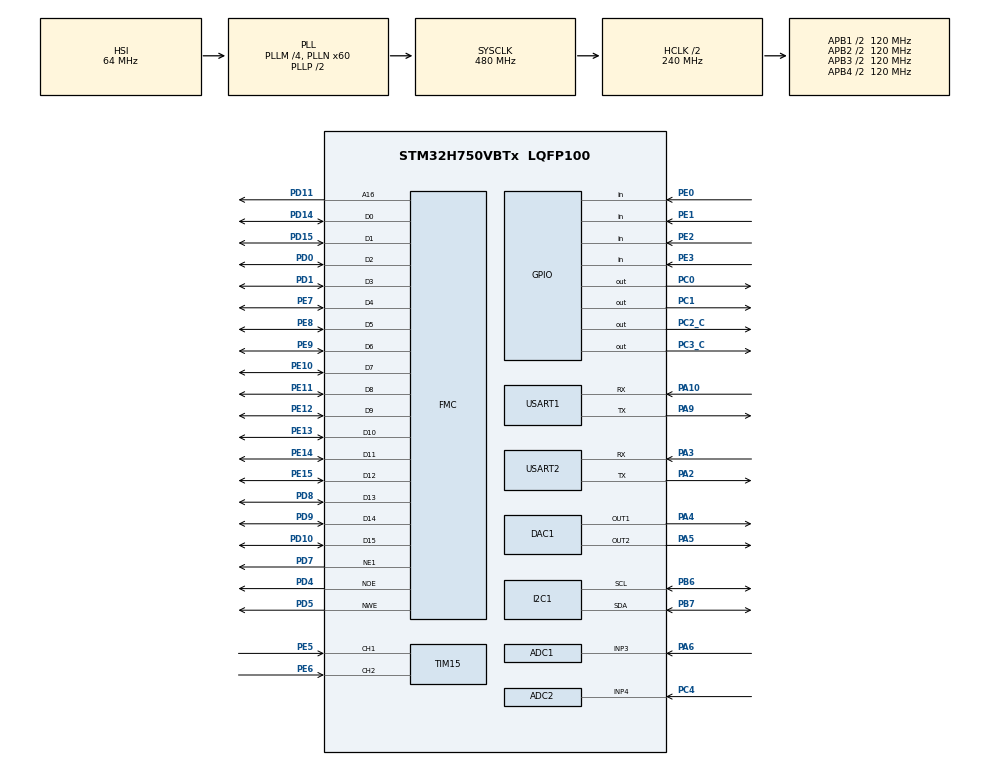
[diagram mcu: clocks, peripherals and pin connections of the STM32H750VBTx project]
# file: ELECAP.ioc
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ADC1.Channel-0\#ChannelRegularConversion=ADC_CHANNEL_3
ADC1.ClockPrescaler=ADC_CLOCK_ASYNC_DIV2
ADC1.ContinuousConvMode=DISABLE
ADC1.ConversionDataManagement=ADC_CONVERSIONDATA_DMA_ONESHOT
ADC1.DiscontinuousConvMode=DISABLE
ADC1.ExternalTrigConv=ADC_EXTERNALTRIG_T6_TRGO
ADC1.NbrOfConversion=1
ADC1.NbrOfConversionFlag=1
ADC1.OffsetNumber-0\#ChannelRegularConversion=ADC_OFFSET_NONE
ADC1.OffsetSignedSaturation-0\#ChannelRegularConversion=DISABLE
ADC1.Rank-0\#ChannelRegularConversion=1
ADC1.Resolution=ADC_RESOLUTION_12B
ADC1.SamplingTime-0\#ChannelRegularConversion=ADC_SAMPLETIME_1CYCLE_5
ADC1.master=1
ADC2.Channel-1\#ChannelRegularConversion=ADC_CHANNEL_4
ADC2.ClockPrescaler=ADC_CLOCK_ASYNC_DIV2
ADC2.ConversionDataManagement=ADC_CONVERSIONDATA_DMA_ONESHOT
ADC2.ExternalTrigConv=ADC_EXTERNALTRIG_T6_TRGO
ADC2.NbrOfConversionFlag=1
ADC2.OffsetNumber-1\#ChannelRegularConversion=ADC_OFFSET_NONE
ADC2.OffsetSignedSaturation-1\#ChannelRegularConversion=DISABLE
ADC2.Rank-1\#ChannelRegularConversion=1
ADC2.Resolution=ADC_RESOLUTION_14B
ADC2.SamplingTime-1\#ChannelRegularConversion=ADC_SAMPLETIME_1CYCLE_5
CORTEX_M7.AccessPermission-Cortex_Memory_Protection_Unit_Region0_Settings=MPU_REGION_FULL_ACCESS
CORTEX_M7.AccessPermission-Cortex_Memory_Protection_Unit_Region1_Settings=MPU_REGION_FULL_ACCESS
CORTEX_M7.BaseAddress-Cortex_Memory_Protection_Unit_Region0_Settings=0x24000000
CORTEX_M7.BaseAddress-Cortex_Memory_Protection_Unit_Region1_Settings=0x60000000
CORTEX_M7.CPU_DCache=Enabled
CORTEX_M7.CPU_ICache=Disabled
CORTEX_M7.DisableExec-Cortex_Memory_Protection_Unit_Region0_Settings=MPU_INSTRUCTION_ACCESS_ENABLE
CORTEX_M7.Enable-Cortex_Memory_Protection_Unit_Region0_Settings=MPU_REGION_ENABLE
CORTEX_M7.Enable-Cortex_Memory_Protection_Unit_Region1_Settings=MPU_REGION_ENABLE
CORTEX_M7.IsBufferable-Cortex_Memory_Protection_Unit_Region0_Settings=MPU_ACCESS_BUFFERABLE
CORTEX_M7.IsBufferable-Cortex_Memory_Protection_Unit_Region1_Settings=MPU_ACCESS_BUFFERABLE
CORTEX_M7.IsCacheable-Cortex_Memory_Protection_Unit_Region0_Settings=MPU_ACCESS_CACHEABLE
CORTEX_M7.IsCacheable-Cortex_Memory_Protection_Unit_Region1_Settings=MPU_ACCESS_NOT_CACHEABLE
CORTEX_M7.MPU_Control=MPU_HFNMI_PRIVDEF
CORTEX_M7.Size-Cortex_Memory_Protection_Unit_Region0_Settings=MPU_REGION_SIZE_512KB
CORTEX_M7.Size-Cortex_Memory_Protection_Unit_Region1_Settings=MPU_REGION_SIZE_64MB
CORTEX_M7.default_mode_Activation=0
DAC1.DAC2_OutputBuffer-DAC_OUT2=DAC_OUTPUTBUFFER_ENABLE
DAC1.DAC_Channel-DAC_OUT1=DAC_CHANNEL_1
DAC1.DAC_Channel-DAC_OUT2=DAC_CHANNEL_2
DAC1.DAC_Trigger-DAC_OUT1=DAC_TRIGGER_T7_TRGO
DAC1.DAC_Trigger-DAC_OUT2=DAC_TRIGGER_T7_TRGO
DAC1.WaveGeneration-DAC_OUT1=TriangleWaveGeneration
Dma.ADC1.0.Direction=DMA_PERIPH_TO_MEMORY
Dma.ADC1.0.EventEnable=ENABLE
Dma.ADC1.0.FIFOMode=DMA_FIFOMODE_DISABLE
Dma.ADC1.0.Instance=DMA1_Stream1
Dma.ADC1.0.MemDataAlignment=DMA_MDATAALIGN_HALFWORD
Dma.ADC1.0.MemInc=DMA_MINC_ENABLE
Dma.ADC1.0.Mode=DMA_NORMAL
Dma.ADC1.0.PeriphDataAlignment=DMA_PDATAALIGN_HALFWORD
Dma.ADC1.0.PeriphInc=DMA_PINC_DISABLE
Dma.ADC1.0.Polarity=HAL_DMAMUX_REQ_GEN_RISING
Dma.ADC1.0.Priority=DMA_PRIORITY_LOW
Dma.ADC1.0.RequestNumber=1
Dma.ADC1.0.SignalID=NONE
Dma.ADC1.0.SyncEnable=DISABLE
Dma.ADC1.0.SyncPolarity=HAL_DMAMUX_SYNC_NO_EVENT
Dma.ADC1.0.SyncRequestNumber=1
Dma.ADC1.0.SyncSignalID=NONE
Dma.ADC2.2.Direction=DMA_PERIPH_TO_MEMORY
Dma.ADC2.2.EventEnable=DISABLE
Dma.ADC2.2.FIFOMode=DMA_FIFOMODE_DISABLE
Dma.ADC2.2.Instance=DMA1_Stream2
Dma.ADC2.2.MemDataAlignment=DMA_MDATAALIGN_HALFWORD
Dma.ADC2.2.MemInc=DMA_MINC_ENABLE
Dma.ADC2.2.Mode=DMA_NORMAL
Dma.ADC2.2.PeriphDataAlignment=DMA_PDATAALIGN_HALFWORD
Dma.ADC2.2.PeriphInc=DMA_PINC_DISABLE
Dma.ADC2.2.Polarity=HAL_DMAMUX_REQ_GEN_RISING
Dma.ADC2.2.Priority=DMA_PRIORITY_LOW
Dma.ADC2.2.RequestNumber=1
Dma.ADC2.2.SignalID=NONE
Dma.ADC2.2.SyncEnable=DISABLE
Dma.ADC2.2.SyncPolarity=HAL_DMAMUX_SYNC_NO_EVENT
Dma.ADC2.2.SyncRequestNumber=1
Dma.ADC2.2.SyncSignalID=NONE
Dma.DAC1_CH1.1.Direction=DMA_MEMORY_TO_PERIPH
Dma.DAC1_CH1.1.EventEnable=DISABLE
Dma.DAC1_CH1.1.FIFOMode=DMA_FIFOMODE_DISABLE
Dma.DAC1_CH1.1.Instance=DMA1_Stream0
Dma.DAC1_CH1.1.MemDataAlignment=DMA_MDATAALIGN_HALFWORD
Dma.DAC1_CH1.1.MemInc=DMA_MINC_ENABLE
Dma.DAC1_CH1.1.Mode=DMA_CIRCULAR
Dma.DAC1_CH1.1.PeriphDataAlignment=DMA_PDATAALIGN_HALFWORD
Dma.DAC1_CH1.1.PeriphInc=DMA_PINC_DISABLE
Dma.DAC1_CH1.1.Polarity=HAL_DMAMUX_REQ_GEN_RISING
Dma.DAC1_CH1.1.Priority=DMA_PRIORITY_LOW
Dma.DAC1_CH1.1.RequestNumber=1
Dma.DAC1_CH1.1.SignalID=NONE
Dma.DAC1_CH1.1.SyncEnable=DISABLE
Dma.DAC1_CH1.1.SyncPolarity=HAL_DMAMUX_SYNC_NO_EVENT
Dma.DAC1_CH1.1.SyncRequestNumber=1
Dma.DAC1_CH1.1.SyncSignalID=NONE
Dma.Request0=ADC1
Dma.Request1=DAC1_CH1
Dma.Request2=ADC2
FMC.AddressSetupTime1=0x10
FMC.BusTurnAroundDuration1=0
FMC.DataSetupTime1=0x4d
FMC.ExtendedAddressSetupTime1=0x05
FMC.ExtendedBusTurnAroundDuration1=0
FMC.ExtendedDataSetupTime1=0x05
FMC.ExtendedMode1=FMC_EXTENDED_MODE_ENABLE
FMC.WriteFifo1=FMC_WRITE_FIFO_DISABLE
I2C1.Timing=0x307075B1
Mcu.Family=STM32H7
Mcu.Name=STM32H750VBTx
Mcu.Package=LQFP100
NVIC.DMA1_Stream0_IRQn=true\:0\:0\:false\:false\:true\:false\:false\:true
NVIC.DMA1_Stream1_IRQn=true\:0\:0\:false\:false\:true\:false\:false\:true
NVIC.DMA1_Stream2_IRQn=true\:0\:0\:false\:false\:true\:false\:false\:true
NVIC.DMAMUX1_OVR_IRQn=true\:0\:0\:false\:false\:true\:false\:true\:true
NVIC.PriorityGroup=NVIC_PRIORITYGROUP_4
NVIC.TIM8_UP_TIM13_IRQn=true\:0\:0\:false\:false\:true\:true\:false\:true
PA10.Mode=Asynchronous
PA10.Signal=USART1_RX
PA13\ (JTMS/SWDIO).Mode=Serial_Wire
PA13\ (JTMS/SWDIO).Signal=DEBUG_JTMS-SWDIO
PA14\ (JTCK/SWCLK).Mode=Serial_Wire
PA14\ (JTCK/SWCLK).Signal=DEBUG_JTCK-SWCLK
PA2.Mode=Asynchronous
PA2.Signal=USART2_TX
PA3.Mode=Asynchronous
PA3.Signal=USART2_RX
PA4.Signal=COMP_DAC11_group
PA5.Signal=COMP_DAC12_group
PA6.Signal=ADCx_INP3
PA9.Mode=Asynchronous
PA9.Signal=USART1_TX
PB6.Mode=I2C
PB6.Signal=I2C1_SCL
PB7.Mode=I2C
PB7.Signal=I2C1_SDA
PC0.GPIO_PuPd=GPIO_PULLUP
PC0.Signal=GPIO_Output
PC1.GPIO_PuPd=GPIO_PULLUP
PC1.Signal=GPIO_Output
PC2_C.GPIO_PuPd=GPIO_PULLUP
PC2_C.Signal=GPIO_Output
PC3_C.GPIO_PuPd=GPIO_PULLUP
PC3_C.Signal=GPIO_Output
PC4.Signal=ADCx_INP4
PD0.GPIO_PuPd=GPIO_PULLUP
PD0.Signal=FMC_D2_DA2
PD1.GPIO_PuPd=GPIO_PULLUP
PD1.Signal=FMC_D3_DA3
PD10.GPIO_PuPd=GPIO_PULLUP
PD10.Signal=FMC_D15_DA15
PD11.GPIO_PuPd=GPIO_PULLUP
PD11.Signal=FMC_A16_CLE
PD14.GPIO_PuPd=GPIO_PULLUP
PD14.Signal=FMC_D0_DA0
PD15.GPIO_PuPd=GPIO_PULLUP
PD15.Signal=FMC_D1_DA1
PD4.GPIO_PuPd=GPIO_PULLUP
PD4.Signal=FMC_NOE
PD5.GPIO_PuPd=GPIO_PULLUP
PD5.Signal=FMC_NWE
PD7.GPIO_PuPd=GPIO_PULLUP
PD7.Mode=NorPsramChipSelect1_1
PD7.Signal=FMC_NE1
PD8.GPIO_PuPd=GPIO_PULLUP
PD8.Signal=FMC_D13_DA13
PD9.GPIO_PuPd=GPIO_PULLUP
PD9.Signal=FMC_D14_DA14
PE0.GPIO_PuPd=GPIO_PULLUP
PE0.Signal=GPIO_Input
PE1.GPIO_PuPd=GPIO_PULLUP
PE1.Signal=GPIO_Input
PE10.GPIO_PuPd=GPIO_PULLUP
PE10.Signal=FMC_D7_DA7
PE11.GPIO_PuPd=GPIO_PULLUP
PE11.Signal=FMC_D8_DA8
PE12.GPIO_PuPd=GPIO_PULLUP
PE12.Signal=FMC_D9_DA9
PE13.GPIO_PuPd=GPIO_PULLUP
PE13.Signal=FMC_D10_DA10
PE14.GPIO_PuPd=GPIO_PULLUP
PE14.Signal=FMC_D11_DA11
PE15.GPIO_PuPd=GPIO_PULLUP
PE15.Signal=FMC_D12_DA12
PE2.GPIO_PuPd=GPIO_PULLUP
PE2.Signal=GPIO_Input
PE3.GPIO_PuPd=GPIO_PULLUP
PE3.Signal=GPIO_Input
PE5.Signal=S_TIM15_CH1
PE6.Signal=S_TIM15_CH2
PE7.GPIO_PuPd=GPIO_PULLUP
PE7.Signal=FMC_D4_DA4
PE8.GPIO_PuPd=GPIO_PULLUP
PE8.Signal=FMC_D5_DA5
PE9.GPIO_PuPd=GPIO_PULLUP
PE9.Signal=FMC_D6_DA6
PH0-OSC_IN\ (PH0).Mode=HSE-External-Oscillator
PH0-OSC_IN\ (PH0).Signal=RCC_OSC_IN
PH1-OSC_OUT\ (PH1).Mode=HSE-External-Oscillator
PH1-OSC_OUT\ (PH1).Signal=RCC_OSC_OUT
ProjectManager.HeapSize=0x18000
ProjectManager.StackSize=0x2000
ProjectManager.TargetToolchain=MDK-ARM V5.32
RCC.ADCFreq_Value=75000000
RCC.APB1Freq_Value=120000000
RCC.APB2Freq_Value=120000000
RCC.APB3Freq_Value=120000000
RCC.APB4Freq_Value=120000000
RCC.CortexFreq_Value=480000000
RCC.D1PPRE=RCC_APB3_DIV2
RCC.D2PPRE1=RCC_APB1_DIV2
RCC.D2PPRE2=RCC_APB2_DIV2
RCC.D3PPRE=RCC_APB4_DIV2
RCC.DIVM1=4
RCC.DIVM2=4
RCC.DIVN1=60
RCC.DIVN2=9
RCC.DIVQ1=5
RCC.HCLKFreq_Value=240000000
RCC.HPRE=RCC_HCLK_DIV2
RCC.LSE_VALUE=32.77
RCC.PLL2FRACN=3072
RCC.PLL3FRACN=0
RCC.PLLFRACN=0
RCC.SYSCLKFreq_VALUE=480000000
RCC.SYSCLKSource=RCC_SYSCLKSOURCE_PLLCLK
RCC.USBFreq_Value=192000000
SH.ADCx_INP3.0=ADC1_INP3,IN3-Single-Ended
SH.ADCx_INP4.0=ADC2_INP4,IN4-Single-Ended
SH.COMP_DAC11_group.0=DAC1_OUT1,DAC_OUT1
SH.COMP_DAC12_group.0=DAC1_OUT2,DAC_OUT2
SH.FMC_A16_CLE.0=FMC_A16,A16_1
SH.FMC_D0_DA0.0=FMC_D0,16b-d1
SH.FMC_D10_DA10.0=FMC_D10,16b-d1
SH.FMC_D11_DA11.0=FMC_D11,16b-d1
SH.FMC_D12_DA12.0=FMC_D12,16b-d1
SH.FMC_D13_DA13.0=FMC_D13,16b-d1
SH.FMC_D14_DA14.0=FMC_D14,16b-d1
SH.FMC_D15_DA15.0=FMC_D15,16b-d1
SH.FMC_D1_DA1.0=FMC_D1,16b-d1
SH.FMC_D2_DA2.0=FMC_D2,16b-d1
SH.FMC_D3_DA3.0=FMC_D3,16b-d1
SH.FMC_D4_DA4.0=FMC_D4,16b-d1
SH.FMC_D5_DA5.0=FMC_D5,16b-d1
SH.FMC_D6_DA6.0=FMC_D6,16b-d1
SH.FMC_D7_DA7.0=FMC_D7,16b-d1
SH.FMC_D8_DA8.0=FMC_D8,16b-d1
SH.FMC_D9_DA9.0=FMC_D9,16b-d1
SH.FMC_NOE.0=FMC_NOE,Lcd1
SH.FMC_NWE.0=FMC_NWE,Lcd1
SH.S_TIM15_CH1.0=TIM15_CH1,Input_Capture1_from_TI1
SH.S_TIM15_CH2.0=TIM15_CH2,Input_Capture2_from_TI2
TIM13.AutoReloadPreload=TIM_AUTORELOAD_PRELOAD_ENABLE
TIM13.Period=10000-1
TIM13.Prescaler=240-1
TIM15.Channel-Input_Capture1_from_TI1=TIM_CHANNEL_1
TIM15.Channel-Input_Capture2_from_TI2=TIM_CHANNEL_2
TIM6.AutoReloadPreload=TIM_AUTORELOAD_PRELOAD_ENABLE
TIM6.Period=100-1
TIM6.Prescaler=24-1
TIM6.TIM_MasterOutputTrigger=TIM_TRGO_UPDATE
TIM7.AutoReloadPreload=TIM_AUTORELOAD_PRELOAD_ENABLE
TIM7.Period=100-1
TIM7.Prescaler=24-1
TIM7.TIM_MasterOutputTrigger=TIM_TRGO_UPDATE
USART1.VirtualMode-Asynchronous=VM_ASYNC
USART2.VirtualMode-Asynchronous=VM_ASYNC
VP_TIM13_VS_ClockSourceINT.Mode=Enable_Timer
VP_TIM6_VS_ClockSourceINT.Mode=Enable_Timer
VP_TIM7_VS_ClockSourceINT.Mode=Enable_Timer
VREF+.Mode=InternalMode
VREF+.Signal=VREFBUF_OUT
VREFBUF.TrimmingMode=__NULL
board=custom

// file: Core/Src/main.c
/* USER CODE BEGIN Header */
/**
 ******************************************************************************
 * @file           : main.c
 * @brief          : Main program body
 ******************************************************************************
 * @attention
 *
 * Copyright (c) 2024 STMicroelectronics.
 * All rights reserved.
 *
 * This software is licensed under terms that can be found in the LICENSE file
 * in the root directory of this software component.
 * If no LICENSE file comes with this software, it is provided AS-IS.
 *
 ******************************************************************************
 */
/* USER CODE END Header */
#include "main.h"
#include "adc.h"
#include "dac.h"
#include "dma.h"
#include "i2c.h"
#include "tim.h"
#include "usart.h"
#include "gpio.h"
#include "fmc.h"

/* USER CODE BEGIN Includes */
#include "dev_lcd.h"
#include "bsp_system.h"
#include "dev_w25qxx_lz.h"
#include "touch.h"
#include "stdio.h"
#include "interface.h"
#include "bsp_delay.h"

#include "pipline.h"
#include "stm32h7xx.h"
#include "stm32h7xx_hal.h"
#include "touchEvent.h"
#include "ITHandler.h"
#include "osc.h"
#include "waveG.h"
#include "keyEvent.h"
#include "AD9959.h"
/* USER CODE END Includes */

/* USER CODE BEGIN PV */
float volIn;
float volOut;
/* USER CODE END PV */

void SystemClock_Config(void);
void PeriphCommonClock_Config(void);
static void MPU_Config(void);

/* USER CODE BEGIN 0 */
#define wave_length 500
//OscData *thisOsc;
/* USER CODE END 0 */

int main(void)
{

  /* USER CODE BEGIN 1 */
  SCB_EnableICache();
  /* USER CODE END 1 */

  /* MPU Configuration--------------------------------------------------------*/
  MPU_Config();

  /* Enable D-Cache---------------------------------------------------------*/
  SCB_EnableDCache();

  /* MCU Configuration--------------------------------------------------------*/

  /* Reset of all peripherals, Initializes the Flash interface and the Systick. */
  HAL_Init();

  /* Configure the system clock */
  SystemClock_Config();

  /* Configure the peripherals common clocks */
  PeriphCommonClock_Config();

  /* USER CODE BEGIN SysInit */
  SysTick_clkconfig(240);
  /* USER CODE END SysInit */

  /* Initialize all configured peripherals */
  MX_GPIO_Init();
  MX_DMA_Init();
  MX_FMC_Init();
  MX_USART1_UART_Init();
  MX_ADC1_Init();
  MX_TIM6_Init();
  MX_ADC2_Init();
  MX_DAC1_Init();
  MX_USART2_UART_Init();
  MX_I2C1_Init();
  MX_TIM7_Init();
  MX_TIM13_Init();
  MX_TIM15_Init();
  /* USER CODE BEGIN 2 */
	ad9959_init();
  HAL_TIM_Base_Start(&htim15);
  HAL_TIM_Base_Start_IT(&htim13);
  initWaveG();
//  thisOsc = initOscData(0, 0, 100000, Amplify1x, DC, Auto);

  // HAL_GPIO_WritePin(GPIOC, GPIO_PIN_0, 1);

  HAL_Delay(20);
  // 显示屏flash芯片初始
  // W25QXX_Init();
  // 显示屏初始化
  LCD_Init();
  // 触摸屏初始化
  tp_dev.init();
  // 图像界面初始
  graphInit();

  /* USER CODE END 2 */

  /* Infinite loop */
  /* USER CODE BEGIN WHILE */
  while (1)
  {

    keyEvent();
    // debug
    tp_dev.scan(0);
    if ((tp_dev.sta & 0b11111))
    {
      addTouchEvent(tp_dev.x[0] / 2, tp_dev.y[0] / 2, 1);
    }
    else
      addTouchEvent(tp_dev.x[0] / 2, tp_dev.y[0] / 2, 0);
    for (int i = 0; i < 5; i++)
    {
      if (tp_dev.sta >> i & 0x1)
      {
        touchingParam.xList[i] = tp_dev.x[i] / 2;
        touchingParam.yList[i] = tp_dev.y[i] / 2;
      }
    }
    touchingParam.multiTouchSta = tp_dev.sta & 0b11111;

    //  更新视图
    nextGraphic();
    /* USER CODE END WHILE */

  }
}

void SystemClock_Config(void)
{
  RCC_OscInitTypeDef RCC_OscInitStruct = {0};
  RCC_ClkInitTypeDef RCC_ClkInitStruct = {0};

  /** Supply configuration update enable
   */
  HAL_PWREx_ConfigSupply(PWR_LDO_SUPPLY);

  /** Configure the main internal regulator output voltage
   */
  __HAL_PWR_VOLTAGESCALING_CONFIG(PWR_REGULATOR_VOLTAGE_SCALE1);

  while (!__HAL_PWR_GET_FLAG(PWR_FLAG_VOSRDY))
  {
  }

  __HAL_RCC_SYSCFG_CLK_ENABLE();
  __HAL_PWR_VOLTAGESCALING_CONFIG(PWR_REGULATOR_VOLTAGE_SCALE0);

  while (!__HAL_PWR_GET_FLAG(PWR_FLAG_VOSRDY))
  {
  }

  /** Initializes the RCC Oscillators according to the specified parameters
   * in the RCC_OscInitTypeDef structure.
   */
  RCC_OscInitStruct.OscillatorType = RCC_OSCILLATORTYPE_HSI;
  RCC_OscInitStruct.HSIState = RCC_HSI_DIV1;
  RCC_OscInitStruct.HSICalibrationValue = RCC_HSICALIBRATION_DEFAULT;
  RCC_OscInitStruct.PLL.PLLState = RCC_PLL_ON;
  RCC_OscInitStruct.PLL.PLLSource = RCC_PLLSOURCE_HSI;
  RCC_OscInitStruct.PLL.PLLM = 4;
  RCC_OscInitStruct.PLL.PLLN = 60;
  RCC_OscInitStruct.PLL.PLLP = 2;
  RCC_OscInitStruct.PLL.PLLQ = 5;
  RCC_OscInitStruct.PLL.PLLR = 2;
  RCC_OscInitStruct.PLL.PLLRGE = RCC_PLL1VCIRANGE_3;
  RCC_OscInitStruct.PLL.PLLVCOSEL = RCC_PLL1VCOWIDE;
  RCC_OscInitStruct.PLL.PLLFRACN = 0;
  if (HAL_RCC_OscConfig(&RCC_OscInitStruct) != HAL_OK)
  {
    Error_Handler();
  }

  /** Initializes the CPU, AHB and APB buses clocks
   */
  RCC_ClkInitStruct.ClockType = RCC_CLOCKTYPE_HCLK | RCC_CLOCKTYPE_SYSCLK | RCC_CLOCKTYPE_PCLK1 | RCC_CLOCKTYPE_PCLK2 | RCC_CLOCKTYPE_D3PCLK1 | RCC_CLOCKTYPE_D1PCLK1;
  RCC_ClkInitStruct.SYSCLKSource = RCC_SYSCLKSOURCE_PLLCLK;
  RCC_ClkInitStruct.SYSCLKDivider = RCC_SYSCLK_DIV1;
  RCC_ClkInitStruct.AHBCLKDivider = RCC_HCLK_DIV2;
  RCC_ClkInitStruct.APB3CLKDivider = RCC_APB3_DIV2;
  RCC_ClkInitStruct.APB1CLKDivider = RCC_APB1_DIV2;
  RCC_ClkInitStruct.APB2CLKDivider = RCC_APB2_DIV2;
  RCC_ClkInitStruct.APB4CLKDivider = RCC_APB4_DIV2;

  if (HAL_RCC_ClockConfig(&RCC_ClkInitStruct, FLASH_LATENCY_4) != HAL_OK)
  {
    Error_Handler();
  }
}

void PeriphCommonClock_Config(void)
{
  RCC_PeriphCLKInitTypeDef PeriphClkInitStruct = {0};

  /** Initializes the peripherals clock
   */
  PeriphClkInitStruct.PeriphClockSelection = RCC_PERIPHCLK_ADC;
  PeriphClkInitStruct.PLL2.PLL2M = 4;
  PeriphClkInitStruct.PLL2.PLL2N = 9;
  PeriphClkInitStruct.PLL2.PLL2P = 2;
  PeriphClkInitStruct.PLL2.PLL2Q = 2;
  PeriphClkInitStruct.PLL2.PLL2R = 2;
  PeriphClkInitStruct.PLL2.PLL2RGE = RCC_PLL2VCIRANGE_3;
  PeriphClkInitStruct.PLL2.PLL2VCOSEL = RCC_PLL2VCOMEDIUM;
  PeriphClkInitStruct.PLL2.PLL2FRACN = 3072;
  PeriphClkInitStruct.AdcClockSelection = RCC_ADCCLKSOURCE_PLL2;
  if (HAL_RCCEx_PeriphCLKConfig(&PeriphClkInitStruct) != HAL_OK)
  {
    Error_Handler();
  }
}

/* MPU Configuration */

void MPU_Config(void)
{
  MPU_Region_InitTypeDef MPU_InitStruct = {0};

  /* Disables the MPU */
  HAL_MPU_Disable();

  /** Initializes and configures the Region and the memory to be protected
   */
  MPU_InitStruct.Enable = MPU_REGION_ENABLE;
  MPU_InitStruct.Number = MPU_REGION_NUMBER0;
  MPU_InitStruct.BaseAddress = 0x24000000;
  MPU_InitStruct.Size = MPU_REGION_SIZE_512KB;
  MPU_InitStruct.SubRegionDisable = 0x0;
  MPU_InitStruct.TypeExtField = MPU_TEX_LEVEL0;
  MPU_InitStruct.AccessPermission = MPU_REGION_FULL_ACCESS;
  MPU_InitStruct.DisableExec = MPU_INSTRUCTION_ACCESS_ENABLE;
  MPU_InitStruct.IsShareable = MPU_ACCESS_NOT_SHAREABLE;
  MPU_InitStruct.IsCacheable = MPU_ACCESS_CACHEABLE;
  MPU_InitStruct.IsBufferable = MPU_ACCESS_BUFFERABLE;

  HAL_MPU_ConfigRegion(&MPU_InitStruct);

  /** Initializes and configures the Region and the memory to be protected
   */
  MPU_InitStruct.Number = MPU_REGION_NUMBER1;
  MPU_InitStruct.BaseAddress = 0x60000000;
  MPU_InitStruct.Size = MPU_REGION_SIZE_64MB;
  MPU_InitStruct.IsCacheable = MPU_ACCESS_NOT_CACHEABLE;

  HAL_MPU_ConfigRegion(&MPU_InitStruct);
  /* Enables the MPU */
  HAL_MPU_Enable(MPU_HFNMI_PRIVDEF);
}

void Error_Handler(void)
{
  __disable_irq();
  while (1)
  {
  }
}
